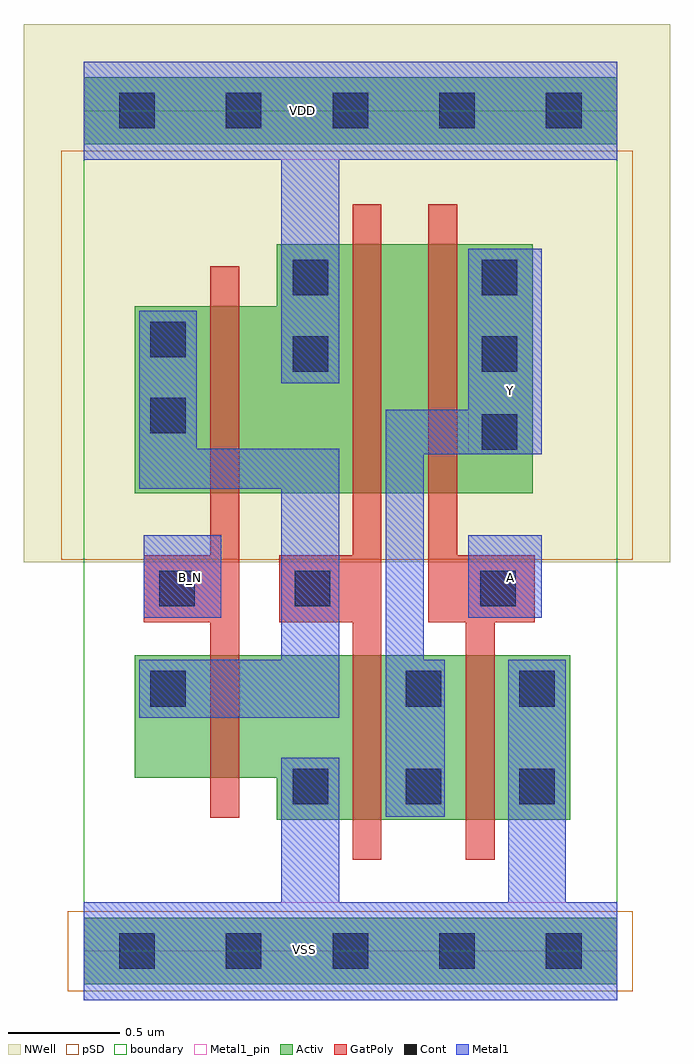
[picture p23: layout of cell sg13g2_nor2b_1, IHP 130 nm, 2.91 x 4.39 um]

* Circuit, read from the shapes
.subckt sg13g2_nor2b_1 A B_N VDD VSS Y
XM1 VSS B_N n1 VSS sg13_lv_nmos w=0.55u l=0.13u
XM2 Y n1 VSS VSS sg13_lv_nmos w=0.74u l=0.13u
XM3 VSS A Y VSS sg13_lv_nmos w=0.74u l=0.13u
XM4 VDD B_N n1 VDD sg13_lv_pmos w=0.84u l=0.13u
XM5 n2 n1 VDD VDD sg13_lv_pmos w=1.12u l=0.13u
XM6 Y A n2 VDD sg13_lv_pmos w=1.12u l=0.13u
.ends

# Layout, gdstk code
import gdstk
lib = gdstk.Library(unit=1e-6, precision=1e-09)
def R(c, l, rs):  # rectangles x0, y0, x1, y1
    for r in rs: c.add(gdstk.rectangle(r[:2], r[2:], *l))
def P(c, l, *ps):  # polygons
    for p in ps: c.add(gdstk.Polygon(p, *l))
Activ = (1, 0)
GatPoly = (5, 0)
Cont = (6, 0)
Metal1 = (8, 0)
Metal1_pin = (8, 2)
pSD = (14, 0)
NWell = (31, 0)
boundary = (189, 4)

sg13g2_nor2b_1 = lib.new_cell('sg13g2_nor2b_1')
R(sg13g2_nor2b_1, Activ, [(0,-0.15,2.4,0.15), (0,-0.15,2.4,0.15), (0,3.63,2.4,3.93), (0,3.63,2.4,3.93)])
P(sg13g2_nor2b_1, Activ, [(0.87,0.59),(0.87,0.78),(0.23,0.78),(0.23,1.33),(2.19,1.33),(2.19,0.59)],
  [(0.23,2.06),(0.23,2.9),(0.87,2.9),(0.87,3.18),(2.02,3.18),(2.02,2.06)],
  [(0.87,0.59),(0.87,0.78),(0.23,0.78),(0.23,1.33),(2.19,1.33),(2.19,0.59)],
  [(0.23,2.06),(0.23,2.9),(0.87,2.9),(0.87,3.18),(2.02,3.18),(2.02,2.06)])
P(sg13g2_nor2b_1, GatPoly, [(0.57,0.6),(0.57,1.48),(0.27,1.48),(0.27,1.78),(0.57,1.78),(0.57,3.08),(0.7,3.08),(0.7,0.6)],
  [(1.21,0.41),(1.21,1.48),(0.88,1.48),(0.88,1.78),(1.21,1.78),(1.21,3.36),(1.34,3.36),(1.34,0.41)],
  [(1.72,0.41),(1.72,1.48),(1.55,1.48),(1.55,3.36),(1.68,3.36),(1.68,1.78),(2.03,1.78),(2.03,1.48),(1.85,1.48),(1.85,0.41)],
  [(0.57,0.6),(0.57,1.48),(0.27,1.48),(0.27,1.78),(0.57,1.78),(0.57,3.08),(0.7,3.08),(0.7,0.6)],
  [(1.21,0.41),(1.21,1.48),(0.88,1.48),(0.88,1.78),(1.21,1.78),(1.21,3.36),(1.34,3.36),(1.34,0.41)],
  [(1.72,0.41),(1.72,1.48),(1.55,1.48),(1.55,3.36),(1.68,3.36),(1.68,1.78),(2.03,1.78),(2.03,1.48),(1.85,1.48),(1.85,0.41)])
R(sg13g2_nor2b_1, Cont, [(0.16,-0.08,0.32,0.08), (0.16,-0.08,0.32,0.08), (0.64,-0.08,0.8,0.08), (0.64,-0.08,0.8,0.08), (1.12,-0.08,1.28,0.08), (1.12,-0.08,1.28,0.08), (1.6,-0.08,1.76,0.08), (1.6,-0.08,1.76,0.08), (2.08,-0.08,2.24,0.08), (2.08,-0.08,2.24,0.08), (0.94,0.66,1.1,0.82), (0.94,0.66,1.1,0.82), (1.45,0.66,1.61,0.82), (1.45,0.66,1.61,0.82), (1.96,0.66,2.12,0.82), (1.96,0.66,2.12,0.82), (0.3,1.1,0.46,1.26), (0.3,1.1,0.46,1.26), (1.45,1.1,1.61,1.26), (1.45,1.1,1.61,1.26), (1.96,1.1,2.12,1.26), (1.96,1.1,2.12,1.26), (0.34,1.55,0.5,1.71), (0.34,1.55,0.5,1.71), (0.95,1.55,1.11,1.71), (0.95,1.55,1.11,1.71), (1.785,1.55,1.945,1.71), (1.785,1.55,1.945,1.71), (1.79,2.255,1.95,2.415), (1.79,2.255,1.95,2.415), (0.3,2.33,0.46,2.49), (0.3,2.33,0.46,2.49), (0.94,2.605,1.1,2.765), (0.94,2.605,1.1,2.765), (1.79,2.605,1.95,2.765), (1.79,2.605,1.95,2.765), (0.3,2.67,0.46,2.83), (0.3,2.67,0.46,2.83), (0.94,2.95,1.1,3.11), (0.94,2.95,1.1,3.11), (1.79,2.95,1.95,3.11), (1.79,2.95,1.95,3.11), (0.16,3.7,0.32,3.86), (0.16,3.7,0.32,3.86), (0.64,3.7,0.8,3.86), (0.64,3.7,0.8,3.86), (1.12,3.7,1.28,3.86), (1.12,3.7,1.28,3.86), (1.6,3.7,1.76,3.86), (1.6,3.7,1.76,3.86), (2.08,3.7,2.24,3.86), (2.08,3.7,2.24,3.86)])
R(sg13g2_nor2b_1, Metal1, [(0.27,1.5,0.62,1.87), (0.27,1.5,0.62,1.87), (1.73,1.5,2.06,1.87), (1.73,1.5,2.06,1.87)])
P(sg13g2_nor2b_1, Metal1, [(1.36,0.605),(1.36,2.435),(1.73,2.435),(1.73,3.16),(2.06,3.16),(2.06,2.235),(1.53,2.235),(1.53,1.31),(1.625,1.31),(1.625,0.605)],
  [(0.25,1.05),(0.25,1.31),(0.89,1.31),(0.89,2.08),(0.25,2.08),(0.25,2.88),(0.51,2.88),(0.51,2.26),(1.15,2.26),(1.15,1.05)],
  [(0,-0.22),(0,0.22),(0.89,0.22),(0.89,0.87),(1.15,0.87),(1.15,0.22),(1.91,0.22),(1.91,1.31),(2.17,1.31),(2.17,0.22),(2.4,0.22),(2.4,-0.22)],
  [(0.89,2.555),(0.89,3.56),(0,3.56),(0,4),(2.4,4),(2.4,3.56),(1.15,3.56),(1.15,2.555)],
  [(1.36,0.605),(1.36,2.435),(1.73,2.435),(1.73,3.16),(2.06,3.16),(2.06,2.235),(1.53,2.235),(1.53,1.31),(1.625,1.31),(1.625,0.605)],
  [(0.25,1.05),(0.25,1.31),(0.89,1.31),(0.89,2.08),(0.25,2.08),(0.25,2.88),(0.51,2.88),(0.51,2.26),(1.15,2.26),(1.15,1.05)],
  [(0,-0.22),(0,0.22),(0.89,0.22),(0.89,0.87),(1.15,0.87),(1.15,0.22),(1.91,0.22),(1.91,1.31),(2.17,1.31),(2.17,0.22),(2.4,0.22),(2.4,-0.22)],
  [(0.89,2.555),(0.89,3.56),(0,3.56),(0,4),(2.4,4),(2.4,3.56),(1.15,3.56),(1.15,2.555)])
R(sg13g2_nor2b_1, Metal1_pin, [(0,-0.22,2.4,0.22), (0,-0.22,2.4,0.22), (0.27,1.5,0.62,1.87), (0.27,1.5,0.62,1.87), (1.73,1.5,2.06,1.87), (1.73,1.5,2.06,1.87), (1.73,2.235,2.06,3.16), (1.73,2.235,2.06,3.16), (0,3.56,2.4,4), (0,3.56,2.4,4)])
R(sg13g2_nor2b_1, pSD, [(-0.07,-0.18,2.47,0.18), (-0.07,-0.18,2.47,0.18), (-0.1,1.76,2.47,3.6), (-0.1,1.76,2.47,3.6)])
R(sg13g2_nor2b_1, NWell, [(-0.27,1.75,2.64,4.17), (-0.27,1.75,2.64,4.17)])
R(sg13g2_nor2b_1, boundary, [(0,0,2.4,3.78), (0,0,2.4,3.78)])
sg13g2_nor2b_1.add(gdstk.Label('A', (1.92,1.68), layer=8, texttype=25))
sg13g2_nor2b_1.add(gdstk.Label('B_N', (0.48,1.68), layer=8, texttype=25))
sg13g2_nor2b_1.add(gdstk.Label('VDD', (0.985,3.78), layer=8, texttype=25))
sg13g2_nor2b_1.add(gdstk.Label('Y', (1.92,2.52), layer=8, texttype=25))
sg13g2_nor2b_1.add(gdstk.Label('VSS', (0.995,0.005), layer=8, texttype=25))
sg13g2_nor2b_1.add(gdstk.Label('A', (1.92,1.68), layer=8, texttype=25))
sg13g2_nor2b_1.add(gdstk.Label('B_N', (0.48,1.68), layer=8, texttype=25))
sg13g2_nor2b_1.add(gdstk.Label('VDD', (0.985,3.78), layer=8, texttype=25))
sg13g2_nor2b_1.add(gdstk.Label('Y', (1.92,2.52), layer=8, texttype=25))
sg13g2_nor2b_1.add(gdstk.Label('VSS', (0.995,0.005), layer=8, texttype=25))

lib.write_gds('sg13g2_nor2b_1.gds')
